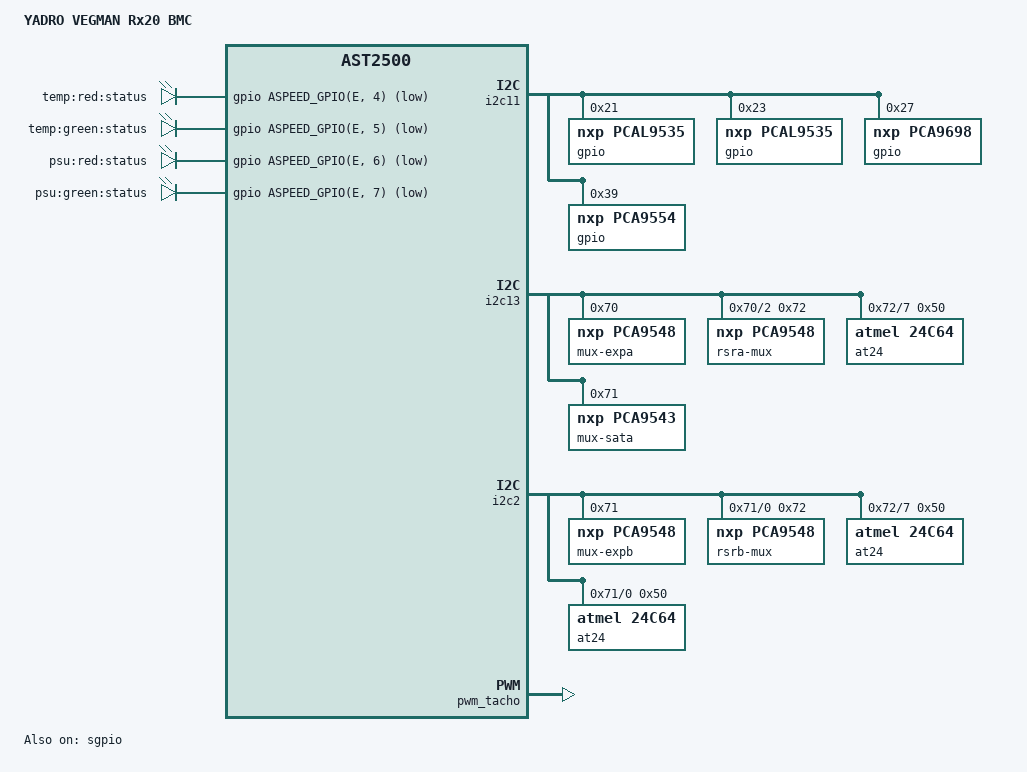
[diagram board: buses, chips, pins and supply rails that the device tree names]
// SPDX-License-Identifier: GPL-2.0+
// Copyright (C) 2021 YADRO
/dts-v1/;

#include "aspeed-bmc-vegman.dtsi"

/ {
	model = "YADRO VEGMAN Rx20 BMC";
	compatible = "yadro,vegman-rx20-bmc", "aspeed,ast2500";

	leds {
		compatible = "gpio-leds";

		temp_alarm {
			label = "temp:red:status";
			default-state = "off";
			gpios = <&gpio ASPEED_GPIO(E, 4) GPIO_ACTIVE_LOW>;
		};

		temp_ok {
			label = "temp:green:status";
			default-state = "off";
			gpios = <&gpio ASPEED_GPIO(E, 5) GPIO_ACTIVE_LOW>;
		};

		psu_fault {
			label = "psu:red:status";
			default-state = "off";
			gpios = <&gpio ASPEED_GPIO(E, 6) GPIO_ACTIVE_LOW>;
		};

		psu_ok {
			label = "psu:green:status";
			default-state = "off";
			gpios = <&gpio ASPEED_GPIO(E, 7) GPIO_ACTIVE_LOW>;
		};
	};
};

&gpio {
	status = "okay";
	gpio-line-names =
	/*A0-A7*/	"CASE_OPEN_DNP","CASE_OPEN_FAULT_RST_DNP","BEZEL_ON_PWR_P3V3","PWM_PWRGD_EXP_EN","SPEAKER_BMC","FM_FORCE_BMC_UPDATE","","",
	/*B0-B7*/	"","","","","","","","",
	/*C0-C7*/	"","","","","","","","",
	/*D0-D7*/	"","","","","","","","",
	/*E0-E7*/	"RESET_BUTTON","RESET_OUT","POWER_BUTTON","POWER_OUT","LED_TEMP_STATUS_R","LED_TEMP_STATUS_G","LED_PWR_STATUS_R","LED_PWR_STATUS_G",
	/*F0-F7*/	"NMI_OUT","CPU1_DISABLE_COD","","","SKT0_FAULT_LED_DNP","SKT1_FAULT_LED_DNP","RST_RGMII_PHYRST_DNP","",
	/*G0-G7*/	"CPU_ERR2","CPU_CATERR","PCH_BMC_THERMTRIP","SPI_BMC_BOOT_HD","IRQ_NMI_EVENT","SPI_BMC_BOOT_WP","SPI_BMC_BOOT_WP1","",
	/*H0-H7*/	"PWRGD_P3V3_RISER1","PWRGD_P3V3_RISER2","PWRGD_P3V3_RISER3","","MIO_BIOS_SEL","_SPI_FLASH_HOLD","_SPI_FLASH_WP","FM_240VA_STATUS",
	/*I0-I7*/	"","","","","","","","",
	/*J0-J7*/	"","","","","","","","",
	/*K0-K7*/	"","","","","","","","",
	/*L0-L7*/	"","","","","","","","",
	/*M0-M7*/	"SEL_FLASH_SOFT","STATUS_SEL_BMC","","","BMC_WDT_P","ID_BUTTON","PS_PWROK","",
	/*N0-N7*/	"","","","","","","","",
	/*O0-O7*/	"","","","","","","","",
	/*P0-P7*/	"","","","","","","SPI_BIOS_ACTIVE_FLASH_SEL","STATUS_SEL_BIOS",
	/*Q0-Q7*/	"","","","","","","","",
	/*R0-R7*/	"_SPI_BMC_BOOT_CS1","","","","","","","",
	/*S0-S7*/	"_SPI2_BMC_CS1","RSR_A_SMBEXP_RST_INT","RSR_B_SMBEXP_RST_INT","IRQ_SML0_ALERT_MUX","FP_LED_STATUS_GREEN","FP_LED_STATUS_AMBER","FP_ID_LED","",
	/*T0-T7*/	"","","","","","","","",
	/*U0-U7*/	"","","","","","","","",
	/*V0-V7*/	"","","","","","","","",
	/*W0-W7*/	"","","","","","","","",
	/*X0-X7*/	"","","","","","","","",
	/*Y0-Y7*/	"SIO_S3","SIO_S5","","SIO_ONCONTROL","","","","",
	/*Z0-Z7*/	"FM_BMC_PWR_BTN","SIO_POWER_GOOD","FM_BMC_PWRBTN_OUT","FM_BMC_PCH_SCI_LPC","","","","",
	/*AA0-AA7*/	"CPU_CLK_MUX_SEL","IRQ_SML1_PMBUS_ALERT","FM_PVCCIN_CPU0_PWR_IN_ALERT","FM_PVCCIN_CPU1_PWR_IN_ALERT","BMC_SYS_PWR_FAULT","BMC_SYS_PWR_OK","SMI","POST_COMPLETE",
	/*AB0-AB7*/	"FM_CPU_BMCINIT","NMI_BUTTON","BMC_WDT_RST1","BMC_WDT_RST2","","","","",
	/*AC0-AC7*/	"","","","","","","","";
};

&sgpio {
	ngpios = <80>;
	bus-frequency = <2000000>;
	status = "okay";
	/* SGPIO lines. even: input, odd: output */
	gpio-line-names =
	/*A0-A7*/	"CPU1_PRESENCE","","CPU1_THERMTRIP","","CPU1_VRHOT","","CPU1_FIVR_FAULT","","CPU1_MEM_ABCD_VRHOT","","CPU1_MEM_EFGH_VRHOT","","","","","",
	/*B0-B7*/	"CPU1_MISMATCH","","CPU1_MEM_THERM_EVENT","","CPU2_PRESENCE","","CPU2_THERMTRIP","","CPU2_VRHOT","","CPU2_FIVR_FAULT","","CPU2_MEM_ABCD_VRHOT","","CPU2_MEM_EFGH_VRHOT","",
	/*C0-C7*/	"","","","","CPU2_MISMATCH","","CPU2_MEM_THERM_EVENT","","","","","","","","","",
	/*D0-D7*/	"","","","","","","","","","","","","","","","",
	/*E0-E7*/	"","","","","","","","","","","","","","","","",
	/*F0-F7*/	"SGPIO_PLD_MINOR_REV_BIT0","","SGPIO_PLD_MINOR_REV_BIT1","","SGPIO_PLD_MINOR_REV_BIT2","","SGPIO_PLD_MINOR_REV_BIT3","","SGPIO_PLD_MAJOR_REV_BIT0","","SGPIO_PLD_MAJOR_REV_BIT1","","SGPIO_PLD_MAJOR_REV_BIT2","","SGPIO_PLD_MAJOR_REV_BIT3","",
	/*G0-G7*/	"MAIN_PLD_MINOR_REV_BIT0","","MAIN_PLD_MINOR_REV_BIT1","","MAIN_PLD_MINOR_REV_BIT2","","MAIN_PLD_MINOR_REV_BIT3","","MAIN_PLD_MAJOR_REV_BIT0","","MAIN_PLD_MAJOR_REV_BIT1","","MAIN_PLD_MAJOR_REV_BIT2","","MAIN_PLD_MAJOR_REV_BIT3","",
	/*H0-H7*/	"","","","","","","","","","","","","","","","",
	/*I0-I7*/	"","","","","","","","","","","","","","","","",
	/*J0-J7*/	"","","","","","","","","","","","","","","","";
};

&i2c11 {
	/* SMB_BMC_MGMT_LVC3 */
	gpio@21 {
		compatible = "nxp,pcal9535";
		reg = <0x21>;
		gpio-controller;
		#gpio-cells = <2>;
		gpio-line-names =
		/*IO0.0-0.7*/	"ETH3_CLK_REQ", "ETH2_CLK_REQ", "RSR_A_PCIE_X16_2_PRSNT", "RSR_B_PCIE_X16_2_PRSNT", "", "RSR_B_PCIE_X8_3_PRSNT", "RSR_B_PCIE_X8_4_PRSNT", "RSR_B_PCIE_X16_PRSNT_N",
		/*IO1.0-1.7*/	"RSR_B_PCIE_X8_2_PRSNT", "RSR_B_PCIE_X8_1_PRSNT", "NIC_1_PE_BUF_PRSNT", "RSR_A_PCIE_X16_PRSNT", "RSR_A_PCIE_X8_3_PRSNT", "RSR_A_PCIE_X8_2_PRSNT", "RSR_A_PCIE_X8_1_PRSNT_N", "";
	};
	gpio@23 {
		compatible = "nxp,pcal9535";
		reg = <0x23>;
		gpio-controller;
		#gpio-cells = <2>;
		gpio-line-names =
		/*IO0.0-0.7*/	"FM_LINK_WIDTH_ID0", "FM_LINK_WIDTH_ID0", "FM_LINK_WIDTH_ID0", "FM_LINK_WIDTH_ID0", "FM_LINK_WIDTH_ID0", "", "", "",
		/*IO1.0-1.7*/	"", "", "", "", "", "", "", "";
	};
	gpio@27 {
		compatible = "nxp,pca9698";
		reg = <0x27>;
		gpio-controller;
		#gpio-cells = <2>;
		gpio-line-names =
		/*IO0.0-0.7*/	"PWRGD_PS_PWROK", "PWRGD_DSW_PWROK", "PWRGD_P5V_AUX", "PWRGD_P3V3_AUX", "PWRGD_P5V", "PWRGD_P3V3", "PWRGD_P1V8_PCH_AUX", "PWRGD_PCH_PVNN_AUX",
		/*IO1.0-1.7*/	"PWRGD_P1V05_PCH_AUX", "PWRGD_PCH_AUX_VRS", "PWRGD_PVCCIN_CPU0", "PWRGD_PVCCSA_CPU0", "PWRGD_PVCCIO_CPU0", "PWRGD_PVMCP_CPU0", "PWRGD_P1V0_CPU0", "PWRGD_PVDDQ_ABC_CPU0",
		/*IO2.0-2.7*/	"PWRGD_PVPP_ABC_CPU0", "PWRGD_PVTT_ABC_CPU0", "PWRGD_PVDDQ_DEF_CPU0", "PWRGD_PVPP_DEF_CPU0", "PWRGD_PVTT_DEF_CPU0", "PWRGD_PVCCIN_CPU1", "PWRGD_PVCCSA_CPU1", "PWRGD_PVCCIO_CPU1",
		/*IO3.0-3.7*/	"PWRGD_PVMCP_CPU1", "PWRGD_P1V0_CPU1", "PWRGD_PVDDQ_GHJ_CPU1", "PWRGD_PVPP_GHJ_CPU1", "PWRGD_PVTT_GHJ_CPU1", "PWRGD_PVDDQ_KLM_CPU1", "PWRGD_PVPP_KLM_CPU1", "PWRGD_PVTT_KLM_CPU1",
		/*IO4.0-4.7*/	"PCH_PWR_RESET_N", "FM_BOARD_SKU_ID0", "FM_BOARD_SKU_ID1", "FM_BOARD_SKU_ID2", "FM_BOARD_SKU_ID3", "FM_BOARD_SKU_ID4", "FM_BOARD_REV_ID0", "FM_BOARD_REV_ID1";
	};
	gpio@39 {
		compatible = "nxp,pca9554";
		reg = <0x39>;
		gpio-controller;
		#gpio-cells = <2>;
		gpio-line-names =
		/*IO0.0-0.7*/	"FAN_FAULT_0", "FAN_FAULT_1", "FAN_FAULT_2", "FAN_FAULT_3", "FAN_FAULT_4", "FAN_FAULT_5", "FAN_FAULT_6", "";
	};
};

&i2c13 {
	/* SMB_PCIE2_STBY_LVC3 */
	mux-expa@70 {
		compatible = "nxp,pca9548";
		reg = <0x70>;
		#address-cells = <1>;
		#size-cells = <0>;
		i2c-mux-idle-disconnect;

		i2c@2 {
			#address-cells = <1>;
			#size-cells = <0>;
			reg = <2>;
			rsra-mux@72 {
				compatible = "nxp,pca9548";
				reg = <0x72>;
				#address-cells = <1>;
				#size-cells = <0>;

				i2c@7 {
					#address-cells = <1>;
					#size-cells = <0>;
					reg = <7>;
					at24@50 {
						compatible = "atmel,24c64";
						reg = <0x50>;
						pagesize = <32>;
						size = <8192>;
						address-width = <16>;
					};
				};
			};
		};
	};
	mux-sata@71 {
		compatible = "nxp,pca9543";
		reg = <0x71>;
		#address-cells = <1>;
		#size-cells = <0>;
		i2c-mux-idle-disconnect;
	};
};

&i2c2 {
	/* SMB_PCIE_STBY_LVC3 */
	mux-expb@71 {
		compatible = "nxp,pca9548";
		reg = <0x71>;
		#address-cells = <1>;
		#size-cells = <0>;
		i2c-mux-idle-disconnect;

		i2c@0 {
			#address-cells = <1>;
			#size-cells = <0>;
			reg = <0>;
			rsrb-mux@72 {
				compatible = "nxp,pca9548";
				reg = <0x72>;
				#address-cells = <1>;
				#size-cells = <0>;
				i2c@7 {
					#address-cells = <1>;
					#size-cells = <0>;
					reg = <7>;
					at24@50 {
						compatible = "atmel,24c64";
						reg = <0x50>;
						pagesize = <32>;
						size = <8192>;
						address-width = <16>;
					};
				};
			};
			at24@50 {
				compatible = "atmel,24c64";
				reg = <0x50>;
				pagesize = <32>;
				size = <8192>;
				address-width = <16>;
			};
		};
	};
};

&pwm_tacho {
	status = "okay";
	pinctrl-names = "default";
	pinctrl-0 = <&pinctrl_pwm0_default &pinctrl_pwm1_default
			 &pinctrl_pwm2_default &pinctrl_pwm3_default
			 &pinctrl_pwm4_default &pinctrl_pwm5_default
			 &pinctrl_pwm6_default>;

	fan@0 {
		reg = <0x00>;
		aspeed,fan-tach-ch = /bits/ 8 <0x00 0x07>;
	};
	fan@1 {
		reg = <0x01>;
		aspeed,fan-tach-ch = /bits/ 8 <0x01 0x08>;
	};
	fan@2 {
		reg = <0x02>;
		aspeed,fan-tach-ch = /bits/ 8 <0x02 0x09>;
	};
	fan@3 {
		reg = <0x03>;
		aspeed,fan-tach-ch = /bits/ 8 <0x03 0x0A>;
	};
	fan@4 {
		reg = <0x04>;
		aspeed,fan-tach-ch = /bits/ 8 <0x04 0x0B>;
	};
	fan@5 {
		reg = <0x05>;
		aspeed,fan-tach-ch = /bits/ 8 <0x05 0x0C>;
	};
	fan@6 {
		reg = <0x06>;
		aspeed,fan-tach-ch = /bits/ 8 <0x06 0x0D>;
	};
};
